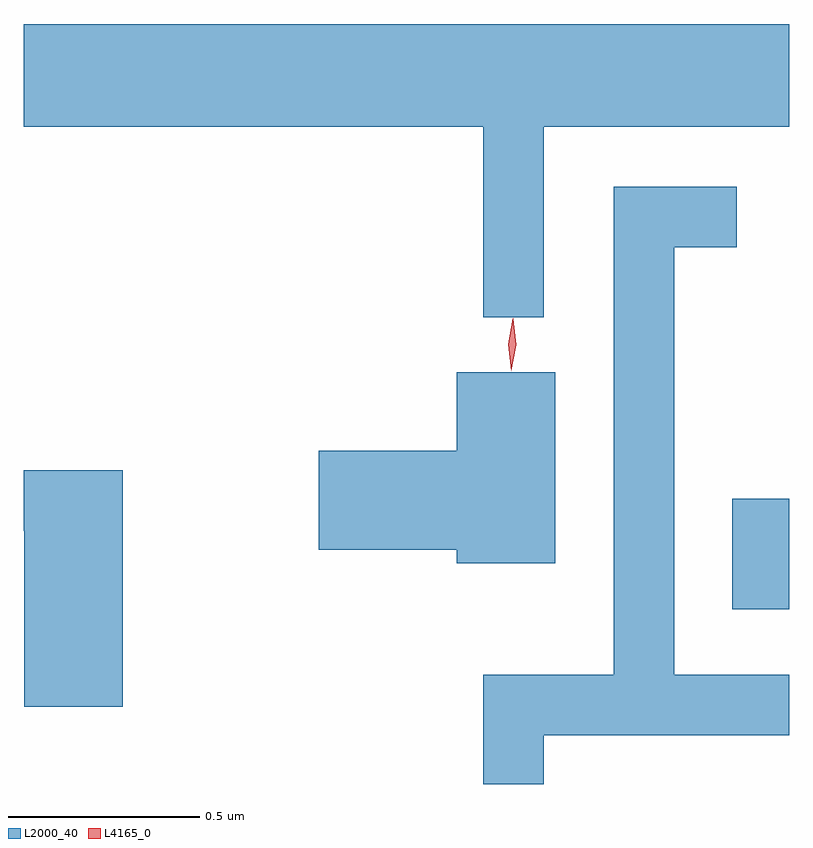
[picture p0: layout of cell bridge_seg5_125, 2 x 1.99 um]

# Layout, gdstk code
import gdstk
lib = gdstk.Library(unit=1e-6, precision=1e-09)
def R(c, l, rs):  # rectangles x0, y0, x1, y1
    for r in rs: c.add(gdstk.rectangle(r[:2], r[2:], *l))
def P(c, l, *ps):  # polygons
    for p in ps: c.add(gdstk.Polygon(p, *l))
L2000_40 = (2000, 40)
L4165_0 = (4165, 0)

bridge_seg5_125 = lib.new_cell('bridge_seg5_125')
R(bridge_seg5_125, L2000_40, [(1022.606,1522.136,1022.755,1522.424)])
P(bridge_seg5_125, L2000_40, [(1022.114,1523.396),(1022.755,1523.396),(1022.755,1523.664),(1020.755,1523.664),(1020.755,1523.396),(1021.956,1523.396),(1021.956,1522.898),(1022.114,1522.898)],
  [(1022.114,1521.806),(1022.755,1521.806),(1022.755,1521.964),(1022.454,1521.964),(1022.454,1523.081),(1022.618,1523.081),(1022.618,1523.239),(1022.296,1523.239),(1022.296,1521.964),(1021.956,1521.964),(1021.956,1521.679),(1022.114,1521.679)],
  [(1022.144,1522.754),(1021.886,1522.754),(1021.886,1522.549),(1021.526,1522.549),(1021.526,1522.291),(1021.886,1522.291),(1021.886,1522.256),(1022.144,1522.256)],
  [(1021.014,1522.499),(1020.755,1522.499),(1020.755,1522.341),(1020.756,1522.341),(1020.756,1521.881),(1021.014,1521.881)])
P(bridge_seg5_125, L4165_0, [(1022.028,1522.761),(1022.028,1522.761),(1022.021,1522.827),(1022.033,1522.891),(1022.034,1522.892),(1022.034,1522.891),(1022.041,1522.826),(1022.029,1522.761)],
  [(1022.028,1522.758),(1022.028,1522.758),(1022.021,1522.827),(1022.033,1522.894),(1022.034,1522.895),(1022.034,1522.894),(1022.041,1522.826),(1022.029,1522.758)])

lib.write_gds('bridge_seg5_125.gds')
